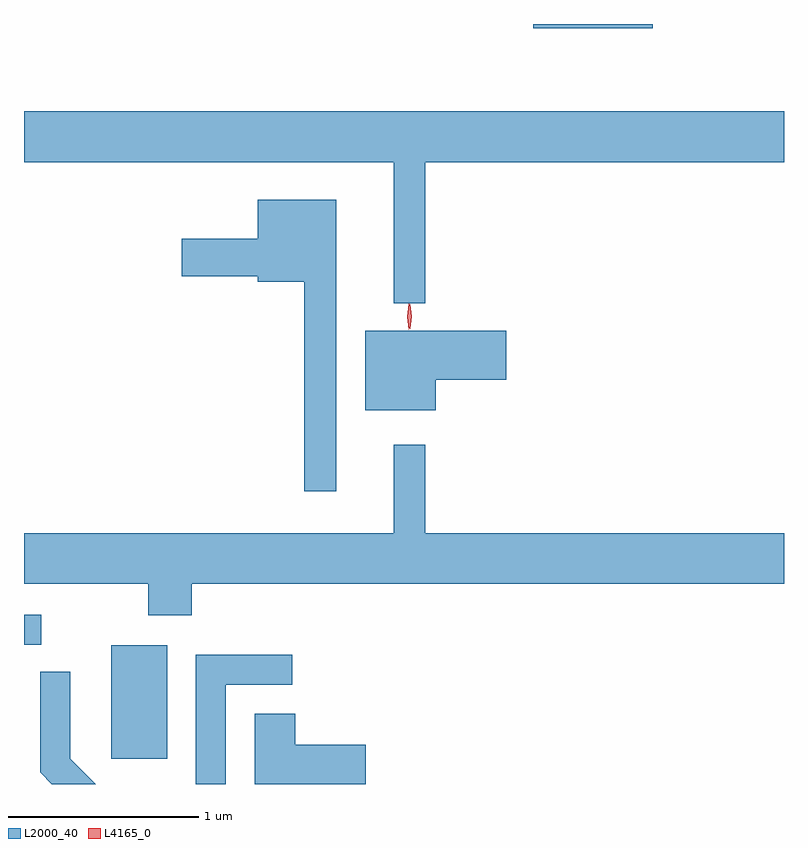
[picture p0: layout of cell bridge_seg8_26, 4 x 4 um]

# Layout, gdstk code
import gdstk
lib = gdstk.Library(unit=1e-6, precision=1e-09)
def R(c, l, rs):  # rectangles x0, y0, x1, y1
    for r in rs: c.add(gdstk.rectangle(r[:2], r[2:], *l))
def P(c, l, *ps):  # polygons
    for p in ps: c.add(gdstk.Polygon(p, *l))
L2000_40 = (2000, 40)
L4165_0 = (4165, 0)

bridge_seg8_26 = lib.new_cell('bridge_seg8_26')
R(bridge_seg8_26, L2000_40, [(1842.526,1902.096,1842.819,1902.694), (1842.066,1902.696,1842.158,1902.854), (1844.746,1905.941,1845.374,1905.963)])
P(bridge_seg8_26, L2000_40, [(1844.179,1905.236),(1846.066,1905.236),(1846.066,1905.504),(1842.066,1905.504),(1842.066,1905.236),(1844.011,1905.236),(1844.011,1904.493),(1844.179,1904.493)],
  [(1843.709,1905.039),(1843.296,1905.039),(1843.296,1904.834),(1842.896,1904.834),(1842.896,1904.636),(1843.296,1904.636),(1843.296,1904.606),(1843.541,1904.606),(1843.541,1903.503),(1843.709,1903.503)],
  [(1844.234,1904.091),(1844.604,1904.091),(1844.604,1904.349),(1843.861,1904.349),(1843.861,1903.931),(1844.234,1903.931)],
  [(1842.949,1903.016),(1846.066,1903.016),(1846.066,1903.284),(1844.179,1903.284),(1844.179,1903.748),(1844.011,1903.748),(1844.011,1903.284),(1842.066,1903.284),(1842.066,1903.016),(1842.721,1903.016),(1842.721,1902.851),(1842.949,1902.851)],
  [(1843.129,1902.486),(1843.478,1902.486),(1843.478,1902.644),(1842.971,1902.644),(1842.971,1901.963),(1843.129,1901.963)],
  [(1842.309,1902.097),(1842.309,1902.553),(1842.151,1902.553),(1842.151,1902.024),(1842.212,1901.963),(1842.443,1901.963)],
  [(1843.864,1902.169),(1843.494,1902.169),(1843.494,1902.334),(1843.281,1902.334),(1843.281,1901.963),(1843.864,1901.963)])
P(bridge_seg8_26, L4165_0, [(1844.09,1904.354),(1844.082,1904.422),(1844.092,1904.49),(1844.092,1904.49),(1844.093,1904.49),(1844.102,1904.422),(1844.091,1904.354),(1844.091,1904.354)],
  [(1844.097,1904.36),(1844.088,1904.424),(1844.097,1904.486),(1844.098,1904.487),(1844.098,1904.486),(1844.108,1904.424),(1844.098,1904.36),(1844.098,1904.36)])

lib.write_gds('bridge_seg8_26.gds')
